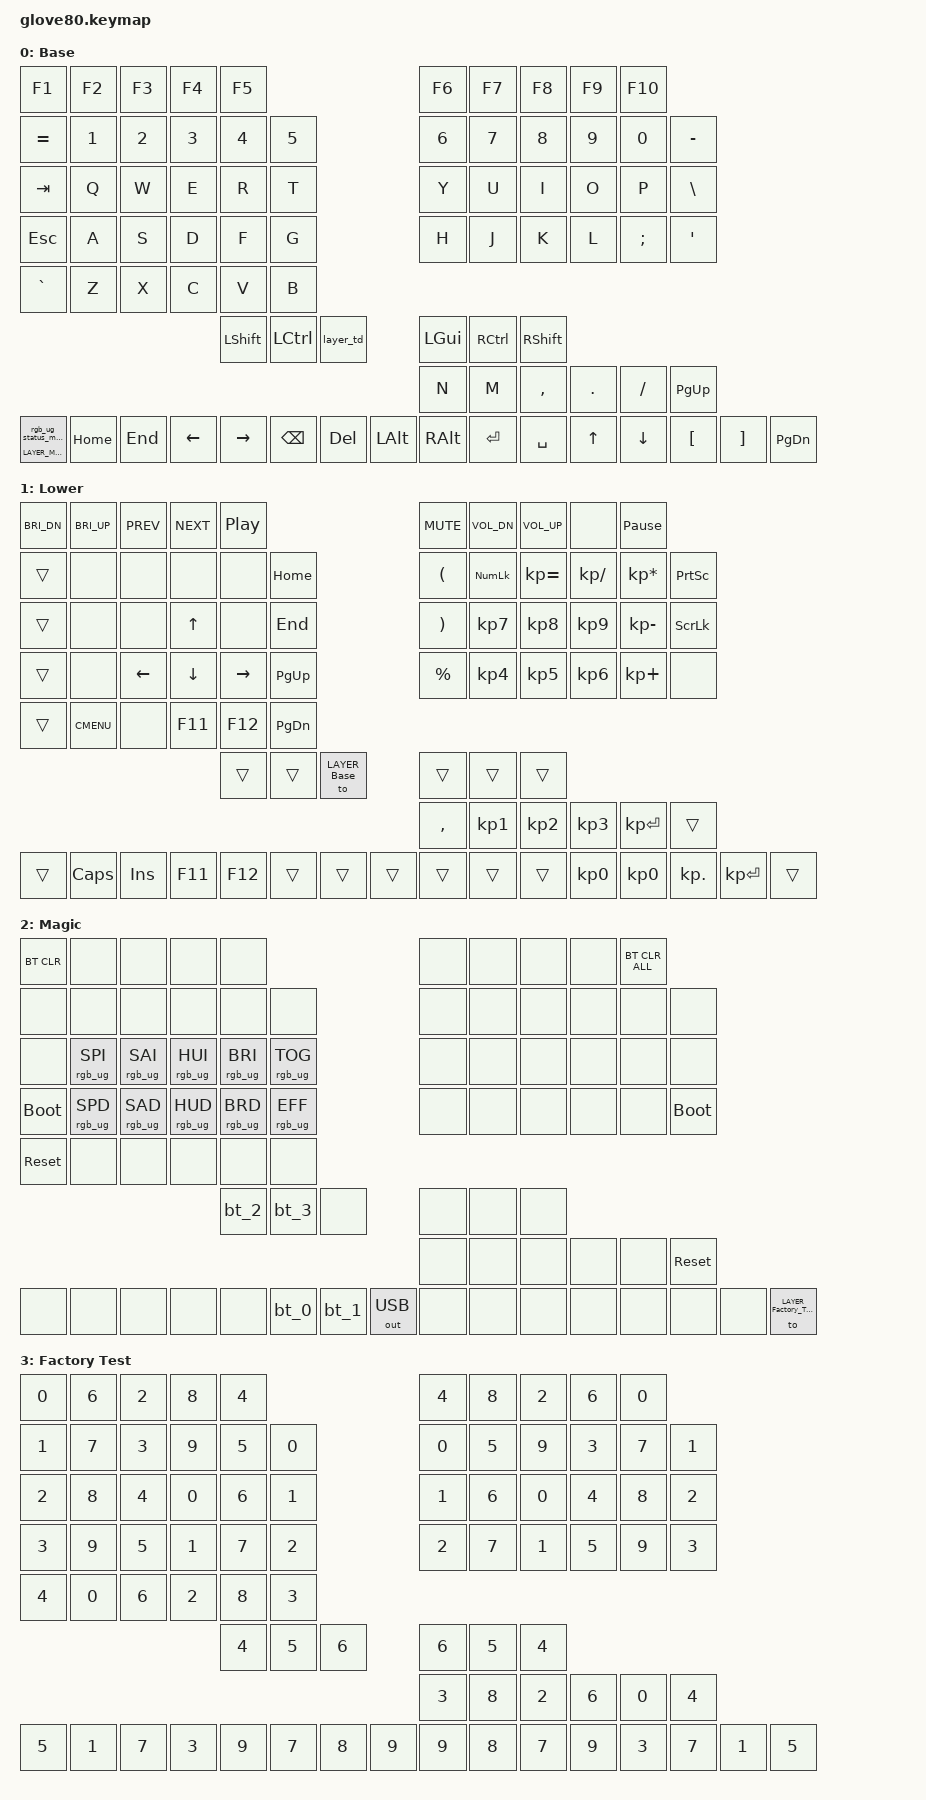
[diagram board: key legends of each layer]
/* Generated by Keyboard Curator. Change the board or the layout there, not this file. */

#include <behaviors.dtsi>
#include <dt-bindings/zmk/keys.h>
#include <dt-bindings/zmk/bt.h>
#include <dt-bindings/zmk/outputs.h>
#include <dt-bindings/zmk/rgb.h>
#include <dt-bindings/zmk/ext_power.h>
#include <dt-bindings/zmk/pointing.h>
#include <input/processors.dtsi>
#include <dt-bindings/zmk/input_transform.h>

#define LAYER_Base 0
#define LAYER_Lower 1
#define LAYER_Magic 2
#define LAYER_Factory_Test 3

/ {
    underglow-layer {
        compatible = "zmk,underglow-layer";

        lighting_0_Base {
            layer-id = <LAYER_Base>;
            bindings = <
                &ug 0x000000  &ug_cl 0x000000 0xFF0000  &ug_nl 0x000020 0x0000FF  &ug_sl 0x002000 0x00FF00  &ug_b2 0xFF0000 0x00FF00                                                          &ug_b4 0xFF0000 0x00FF00  &ug_b6 0xFF0000 0x00FF00  &ug_b8 0xFF0000 0x00FF00  &ug 0x2040B0  &ug 0x2440AD
                &ug 0x2840AA  &ug 0x2C40A7              &ug 0x3040A4              &ug 0x3440A1              &ug 0x38409E              &ug 0x3C409B                              &ug 0x404098  &ug 0x444095              &ug 0x484092              &ug 0x4C408F              &ug 0x50408C  &ug 0x544089
                &ug 0x584086  &ug 0x5C4083              &ug 0x604080              &ug 0x64407D              &ug 0x68407A              &ug 0x6C4077                              &ug 0x704074  &ug 0x744071              &ug 0x78406E              &ug 0x7C406B              &ug 0x804068  &ug 0x844065
                &ug 0x884062  &ug 0x8C405F              &ug 0x90405C              &ug 0x944059              &ug 0x984056              &ug 0x9C4053                              &ug 0xA04050  &ug 0xA4404D              &ug 0xA8404A              &ug 0xAC4047              &ug 0xB04044  &ug 0xB44041
                &ug 0xB8403E  &ug 0xBC403B              &ug 0xC04038              &ug 0xC44035              &ug 0xC84032              &ug 0xCC402F
                                                                                                            &ug 0xD0402C              &ug 0xD44029  &ug 0xD84026                              &ug 0xDC4023              &ug 0xE04020              &ug 0xE4401D
                                                                                                                                                                                &ug 0xE8401A  &ug 0xEC4017              &ug 0xF04014              &ug 0xF44011              &ug 0xF8400E  &ug 0xFC400B
                &ug 0x004008  &ug 0x044005              &ug 0x084002              &ug 0x0C40C7              &ug 0x1040C4              &ug 0x1440C1  &ug 0x1840BE  &ug 0x1C40BB                &ug 0x2040B8              &ug 0x2440B5              &ug 0x2840B2              &ug 0x2C40AF  &ug 0x3040AC  &ug 0x3440A9  &ug 0x3840A6  &ug 0x3C40A3
            >;
        };

        lighting_1_Lower {
            layer-id = <LAYER_Lower>;
            fade-delay = <15>;
            bindings = <
                &ug 0xFFA000  &trans  &trans        &ug 0xFFA000  &trans                                              &trans        &ug 0xFFA000  &trans        &trans        &ug 0xFFA000
                &trans        &trans  &ug 0xFFA000  &trans        &trans  &ug 0xFFA000                        &trans  &trans        &ug 0xFFA000  &trans        &trans        &ug 0xFFA000
                &trans        &trans  &ug 0xFFA000  &trans        &trans  &ug 0xFFA000                        &trans  &trans        &ug 0xFFA000  &trans        &trans        &ug 0xFFA000
                &trans        &trans  &ug 0xFFA000  &trans        &trans  &ug 0xFFA000                        &trans  &trans        &ug 0xFFA000  &trans        &trans        &ug 0xFFA000
                &trans        &trans  &ug 0xFFA000  &trans        &trans  &ug 0xFFA000
                                                                  &trans  &trans        &ug 0xFFA000                  &trans        &trans        &ug 0xFFA000
                                                                                                              &trans  &trans        &ug 0xFFA000  &trans        &trans        &ug 0xFFA000
                &trans        &trans  &ug 0xFFA000  &trans        &trans  &ug 0xFFA000  &trans        &trans          &ug 0xFFA000  &trans        &trans        &ug 0xFFA000  &trans        &trans  &ug 0xFFA000  &trans
            >;
        };

        lighting_2_Magic {
            layer-id = <LAYER_Magic>;
            bindings = <
                &trans  &trans  &trans  &trans  &trans                                  &trans  &trans  &trans  &trans  &trans
                &trans  &trans  &trans  &trans  &trans  &trans                  &trans  &trans  &trans  &trans  &trans  &trans
                &trans  &trans  &trans  &trans  &trans  &trans                  &trans  &trans  &trans  &trans  &trans  &trans
                &trans  &trans  &trans  &trans  &trans  &trans                  &trans  &trans  &trans  &trans  &trans  &trans
                &trans  &trans  &trans  &trans  &trans  &trans
                                                &trans  &trans  &trans                  &trans  &trans  &trans
                                                                                &trans  &trans  &trans  &trans  &trans  &trans
                &trans  &trans  &trans  &trans  &trans  &trans  &trans  &trans          &trans  &trans  &trans  &trans  &trans  &trans  &trans  &ug 0x800080
            >;
        };
    };

    behaviors {
        // Template: Magic
        magic: magic {
            compatible = "zmk,behavior-hold-tap";
            #binding-cells = <2>;
            flavor = "tap-preferred";
            tapping-term-ms = <200>;
            bindings = <&mo>, <&rgb_ug_status_macro>;
        };
        // Key 54 on Base: Lower while held; tap twice for Switch to Lower
        layer_td: layer_td {
            compatible = "zmk,behavior-tap-dance";
            #binding-cells = <0>;
            tapping-term-ms = <200>;
            bindings = <&mo LAYER_Lower>, <&to LAYER_Lower>;
        };
    };

    macros {
        // Key 64 on Base: Macro: Show status lights, hold for Magic
        rgb_ug_status_macro: rgb_ug_status_macro {
            compatible = "zmk,behavior-macro";
            #binding-cells = <0>;
            bindings
                = <&macro_tap &rgb_ug RGB_STATUS>
                ;
        };
        // Key 69 on Magic: Macro: Bluetooth 1
        bt_0: bt_0 {
            compatible = "zmk,behavior-macro";
            #binding-cells = <0>;
            bindings
                = <&macro_tap &out OUT_BLE &bt BT_SEL 0>
                ;
        };
        // Key 70 on Magic: Macro: Bluetooth 2
        bt_1: bt_1 {
            compatible = "zmk,behavior-macro";
            #binding-cells = <0>;
            bindings
                = <&macro_tap &out OUT_BLE &bt BT_SEL 1>
                ;
        };
        // Key 52 on Magic: Macro: Bluetooth 3
        bt_2: bt_2 {
            compatible = "zmk,behavior-macro";
            #binding-cells = <0>;
            bindings
                = <&macro_tap &out OUT_BLE &bt BT_SEL 2>
                ;
        };
        // Key 53 on Magic: Macro: Bluetooth 4
        bt_3: bt_3 {
            compatible = "zmk,behavior-macro";
            #binding-cells = <0>;
            bindings
                = <&macro_tap &out OUT_BLE &bt BT_SEL 3>
                ;
        };
    };

    keymap {
        compatible = "zmk,keymap";

        layer_0_Base {
            display-name = "Base";
            bindings = <
                &kp F1                &kp F2    &kp F3   &kp F4    &kp F5                                             &kp F6    &kp F7     &kp F8     &kp F9    &kp F10
                &kp EQUAL             &kp N1    &kp N2   &kp N3    &kp N4     &kp N5                          &kp N6  &kp N7    &kp N8     &kp N9     &kp N0    &kp MINUS
                &kp TAB               &kp Q     &kp W    &kp E     &kp R      &kp T                           &kp Y   &kp U     &kp I      &kp O      &kp P     &kp BSLH
                &kp ESC               &kp A     &kp S    &kp D     &kp F      &kp G                           &kp H   &kp J     &kp K      &kp L      &kp SEMI  &kp SQT
                &kp GRAVE             &kp Z     &kp X    &kp C     &kp V      &kp B
                                                                   &kp LSHFT  &kp LCTRL  &layer_td                    &kp LGUI  &kp RCTRL  &kp RSHFT
                                                                                                              &kp N   &kp M     &kp COMMA  &kp DOT    &kp FSLH  &kp PG_UP
                &magic LAYER_Magic 0  &kp HOME  &kp END  &kp LEFT  &kp RIGHT  &kp BSPC   &kp DEL    &kp LALT          &kp RALT  &kp RET    &kp SPACE  &kp UP    &kp DOWN   &kp LBKT  &kp RBKT  &kp PG_DN
            >;
        };

        layer_1_Lower {
            display-name = "Lower";
            bindings = <
                &kp C_BRI_DN  &kp C_BRI_UP  &kp C_PREV  &kp C_NEXT  &kp C_PP                                                 &kp C_MUTE  &kp C_VOL_DN  &kp C_VOL_UP   &none            &kp PAUSE_BREAK
                &trans        &none         &none       &none       &none      &kp HOME                           &kp LPAR   &kp KP_NUM  &kp KP_EQUAL  &kp KP_DIVIDE  &kp KP_MULTIPLY  &kp PSCRN
                &trans        &none         &none       &kp UP      &none      &kp END                            &kp RPAR   &kp KP_N7   &kp KP_N8     &kp KP_N9      &kp KP_MINUS     &kp SLCK
                &trans        &none         &kp LEFT    &kp DOWN    &kp RIGHT  &kp PG_UP                          &kp PRCNT  &kp KP_N4   &kp KP_N5     &kp KP_N6      &kp KP_PLUS      &none
                &trans        &kp K_CMENU   &none       &kp F11     &kp F12    &kp PG_DN
                                                                    &trans     &trans     &to LAYER_Base                     &trans      &trans        &trans
                                                                                                                  &kp COMMA  &kp KP_N1   &kp KP_N2     &kp KP_N3      &kp KP_ENTER     &trans
                &trans        &kp CAPS      &kp INS     &kp F11     &kp F12    &trans     &trans          &trans             &trans      &trans        &trans         &kp KP_N0        &kp KP_N0        &kp KP_DOT  &kp KP_ENTER  &trans
            >;
        };

        layer_2_Magic {
            display-name = "Magic";
            bindings = <
                &bt BT_CLR   &none            &none            &none            &none                                                         &none  &none  &none  &none  &bt BT_CLR_ALL
                &none        &none            &none            &none            &none            &none                                 &none  &none  &none  &none  &none  &none
                &none        &rgb_ug RGB_SPI  &rgb_ug RGB_SAI  &rgb_ug RGB_HUI  &rgb_ug RGB_BRI  &rgb_ug RGB_TOG                       &none  &none  &none  &none  &none  &none
                &bootloader  &rgb_ug RGB_SPD  &rgb_ug RGB_SAD  &rgb_ug RGB_HUD  &rgb_ug RGB_BRD  &rgb_ug RGB_EFF                       &none  &none  &none  &none  &none  &bootloader
                &sys_reset   &none            &none            &none            &none            &none
                                                                                &bt_2            &bt_3            &none                       &none  &none  &none
                                                                                                                                       &none  &none  &none  &none  &none  &sys_reset
                &none        &none            &none            &none            &none            &bt_0            &bt_1  &out OUT_USB         &none  &none  &none  &none  &none           &none  &none  &to LAYER_Factory_Test
            >;
        };

        layer_3_Factory_Test {
            display-name = "Factory Test";
            bindings = <
                &kp N0  &kp N6  &kp N2  &kp N8  &kp N4                                  &kp N4  &kp N8  &kp N2  &kp N6  &kp N0
                &kp N1  &kp N7  &kp N3  &kp N9  &kp N5  &kp N0                  &kp N0  &kp N5  &kp N9  &kp N3  &kp N7  &kp N1
                &kp N2  &kp N8  &kp N4  &kp N0  &kp N6  &kp N1                  &kp N1  &kp N6  &kp N0  &kp N4  &kp N8  &kp N2
                &kp N3  &kp N9  &kp N5  &kp N1  &kp N7  &kp N2                  &kp N2  &kp N7  &kp N1  &kp N5  &kp N9  &kp N3
                &kp N4  &kp N0  &kp N6  &kp N2  &kp N8  &kp N3
                                                &kp N4  &kp N5  &kp N6                  &kp N6  &kp N5  &kp N4
                                                                                &kp N3  &kp N8  &kp N2  &kp N6  &kp N0  &kp N4
                &kp N5  &kp N1  &kp N7  &kp N3  &kp N9  &kp N7  &kp N8  &kp N9          &kp N9  &kp N8  &kp N7  &kp N9  &kp N3  &kp N7  &kp N1  &kp N5
            >;
        };
    };
};
